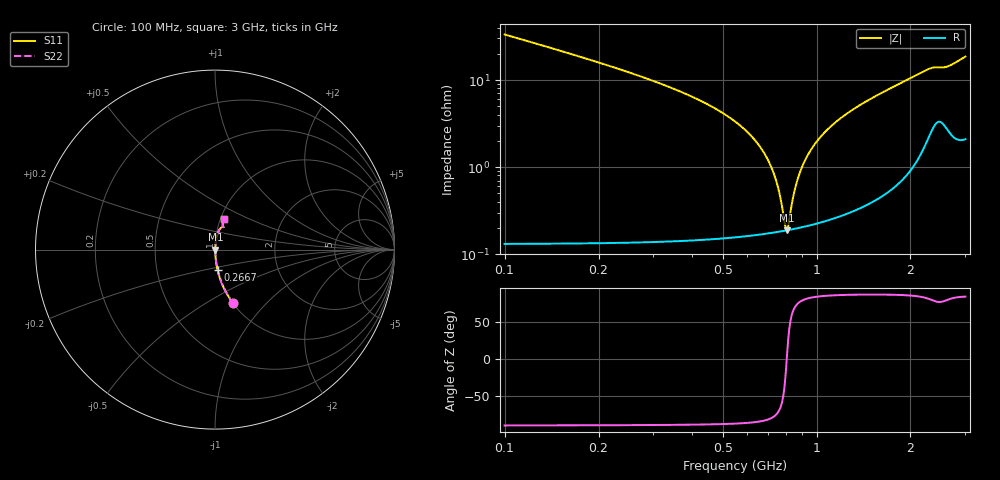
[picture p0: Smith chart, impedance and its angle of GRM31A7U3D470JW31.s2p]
!Murata Part Number: GRM31A7U3D470JW31
!These Parameters are Measured in Series Mode Connection
!Data Generated on Mar 30, 2021
!  o--ll--o
!Port1  Port2
!  o------o
!Operation Temp=25[degC], DC Bias Voltage=0[V]
!Freq. Start=100[MHz] Stop=3[GHz] 401[Steps]
# Hz S RI R 50
!Freq.(Hz) S11(Real) S11(Imag) S21(Real) S21(Imag) S12(Real) S12(Imag) S22(Real) S22(Imag)
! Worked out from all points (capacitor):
!   401 points, 100 MHz to 3 GHz, reference 50 ohm
!   read as one part in series: C = 47 pF near 114.5 MHz
!   lowest |Z| = 188 mohm at 803.2 MHz (marker M1)
!   series resonance near 802.6 MHz, so ESL is about 840 pH
!   S11 on the Smith chart (normalised r, x): 100 MHz: 1.00, -0.67; 266.8 MHz: 1.00, -0.23; 3 GHz: 1.04, +0.37
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1e8  0.101 -0.2994  0.899 0.2994  0.899 0.2994  0.101 -0.2994
1.725e8  0.0351 -0.1806  0.9649 0.1806  0.9649 0.1806  0.0351 -0.1806
2.6675e8  0.014 -0.1115  0.986 0.1115  0.986 0.1115  0.014 -0.1115
4.915e8  0.00338 -0.0432  0.9966 0.0432  0.9966 0.0432  0.00338 -0.0432
5.8575e8  0.00234 -0.0272  0.9977 0.0272  0.9977 0.0272  0.00234 -0.0272
6.5825e8  0.00196 -0.017  0.998 0.017  0.998 0.017  0.00196 -0.017
7.1625e8  0.00184 -0.00977  0.9982 0.00977  0.9982 0.00977  0.00184 -0.00977
7.525e8  0.00183 -0.00553  0.9982 0.00553  0.9982 0.00553  0.00183 -0.00553
7.8875e8  0.00185 -0.0015  0.9981 0.0015  0.9981 0.0015  0.00185 -0.0015
8.0325e8  0.00187 7.02e-05  0.9981 -7.02e-05  0.9981 -7.02e-05  0.00187 7.02e-05
8.1775e8  0.0019 0.00161  0.9981 -0.00161  0.9981 -0.00161  0.0019 0.00161
8.395e8  0.00194 0.00388  0.9981 -0.00388  0.9981 -0.00388  0.00194 0.00388
8.6125e8  0.002 0.00609  0.998 -0.00609  0.998 -0.00609  0.002 0.00609
9.0475e8  0.00215 0.0104  0.9978 -0.0104  0.9978 -0.0104  0.00215 0.0104
9.7725e8  0.00248 0.0172  0.9975 -0.0172  0.9975 -0.0172  0.00248 0.0172
1.0715e9  0.00305 0.0256  0.9969 -0.0256  0.9969 -0.0256  0.00305 0.0256
1.26725e9  0.00472 0.042  0.9953 -0.042  0.9953 -0.042  0.00472 0.042
1.55e9  0.00837 0.0647  0.9916 -0.0647  0.9916 -0.0647  0.00837 0.0647
2.03575e9  0.0211 0.105  0.9789 -0.105  0.9789 -0.105  0.0211 0.105
2.31125e9  0.0396 0.1253  0.9604 -0.1253  0.9604 -0.1253  0.0396 0.1253
2.5215e9  0.0476 0.1251  0.9524 -0.1251  0.9524 -0.1251  0.0476 0.1251
3e9  0.0515 0.1715  0.9485 -0.1715  0.9485 -0.1715  0.0515 0.1715
